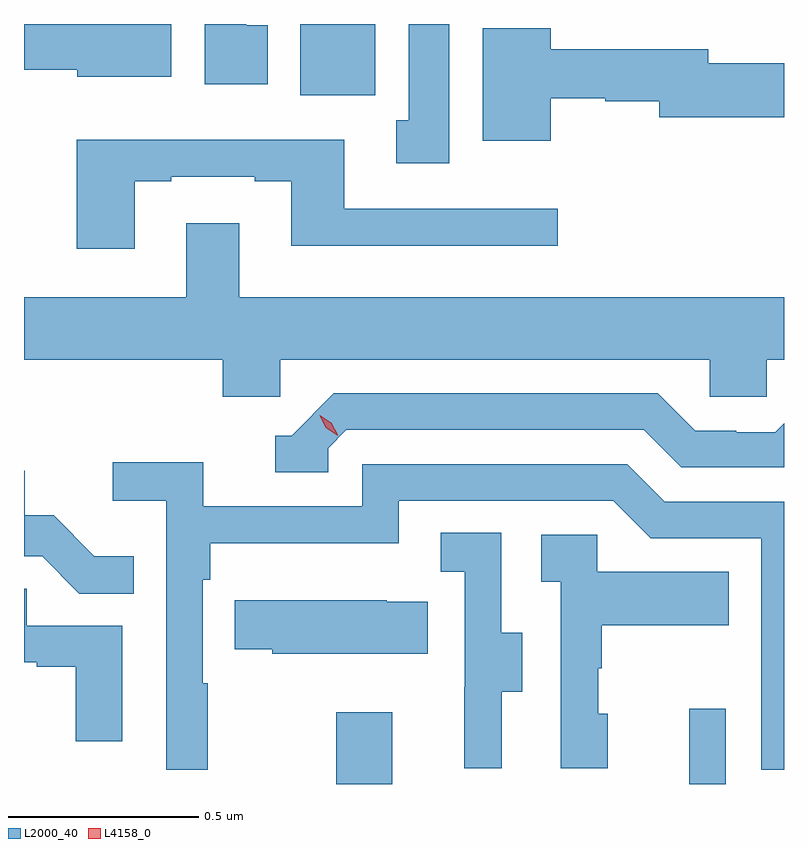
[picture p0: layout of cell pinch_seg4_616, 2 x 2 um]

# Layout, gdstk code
import gdstk
lib = gdstk.Library(unit=1e-6, precision=1e-09)
def R(c, l, rs):  # rectangles x0, y0, x1, y1
    for r in rs: c.add(gdstk.rectangle(r[:2], r[2:], *l))
def P(c, l, *ps):  # polygons
    for p in ps: c.add(gdstk.Polygon(p, *l))
L2000_40 = (2000, 40)
L4158_0 = (4158, 0)

pinch_seg4_616 = lib.new_cell('pinch_seg4_616')
R(pinch_seg4_616, L2000_40, [(1059.376,782.383,1059.523,782.572), (1060.304,782.383,1060.401,782.581), (1059.281,784.196,1059.478,784.383)])
P(pinch_seg4_616, L2000_40, [(1058.941,784.383),(1058.554,784.383),(1058.554,784.262),(1058.694,784.262),(1058.694,784.244),(1058.941,784.244)],
  [(1059.196,784.38),(1059.139,784.38),(1059.139,784.383),(1059.029,784.383),(1059.029,784.224),(1059.196,784.224)],
  [(1059.673,784.383),(1059.566,784.383),(1059.566,784.13),(1059.533,784.13),(1059.533,784.017),(1059.673,784.017)],
  [(1059.94,784.188),(1060.083,784.188),(1060.083,784.18),(1060.226,784.18),(1060.226,784.138),(1060.554,784.138),(1060.554,784.28),(1060.354,784.28),(1060.354,784.316),(1059.94,784.316),(1059.94,784.372),(1059.761,784.372),(1059.761,784.076),(1059.94,784.076)],
  [(1058.845,783.969),(1058.941,783.969),(1058.941,783.981),(1059.161,783.981),(1059.161,783.969),(1059.257,783.969),(1059.257,783.8),(1059.958,783.8),(1059.958,783.897),(1059.397,783.897),(1059.397,784.078),(1058.693,784.078),(1058.693,783.792),(1058.845,783.792)],
  [(1059.228,783.5),(1060.359,783.5),(1060.359,783.402),(1060.509,783.402),(1060.509,783.5),(1060.554,783.5),(1060.554,783.664),(1059.121,783.664),(1059.121,783.859),(1058.981,783.859),(1058.981,783.664),(1058.554,783.664),(1058.554,783.5),(1059.077,783.5),(1059.077,783.402),(1059.228,783.402)],
  [(1059.354,783.267),(1059.402,783.315),(1060.185,783.315),(1060.284,783.216),(1060.554,783.216),(1060.554,783.333),(1060.531,783.309),(1060.428,783.309),(1060.428,783.312),(1060.321,783.312),(1060.222,783.411),(1059.369,783.411),(1059.258,783.3),(1059.215,783.3),(1059.215,783.204),(1059.354,783.204)],
  [(1059.037,782.648),(1059.024,782.648),(1059.024,782.921),(1059.044,782.921),(1059.044,783.017),(1059.54,783.017),(1059.54,783.129),(1060.104,783.129),(1060.203,783.03),(1060.494,783.03),(1060.494,782.421),(1060.554,782.421),(1060.554,783.126),(1060.24,783.126),(1060.141,783.225),(1059.444,783.225),(1059.444,783.114),(1059.026,783.114),(1059.026,783.23),(1058.787,783.23),(1058.787,783.128),(1058.928,783.128),(1058.928,782.421),(1059.037,782.421)],
  [(1058.843,782.983),(1058.739,782.983),(1058.632,783.09),(1058.556,783.09),(1058.556,783.207),(1058.554,783.207),(1058.554,782.982),(1058.602,782.982),(1058.7,782.884),(1058.843,782.884)],
  [(1059.811,782.626),(1059.865,782.626),(1059.865,782.781),(1059.81,782.781),(1059.81,783.044),(1059.651,783.044),(1059.651,782.941),(1059.714,782.941),(1059.714,782.637),(1059.713,782.637),(1059.713,782.424),(1059.811,782.424)],
  [(1060.09,782.568),(1060.065,782.568),(1060.065,782.687),(1060.075,782.687),(1060.075,782.801),(1060.409,782.801),(1060.409,782.941),(1060.062,782.941),(1060.062,783.039),(1059.915,783.039),(1059.915,782.915),(1059.966,782.915),(1059.966,782.424),(1060.09,782.424)],
  [(1058.812,782.799),(1058.561,782.799),(1058.561,782.897),(1058.554,782.897),(1058.554,782.703),(1058.587,782.703),(1058.587,782.691),(1058.69,782.691),(1058.69,782.496),(1058.812,782.496)],
  [(1059.617,782.863),(1059.509,782.863),(1059.509,782.866),(1059.109,782.866),(1059.109,782.737),(1059.207,782.737),(1059.207,782.726),(1059.617,782.726)])
P(pinch_seg4_616, L4158_0, [(1059.378,783.301),(1059.348,783.321),(1059.332,783.354),(1059.332,783.354),(1059.332,783.354),(1059.363,783.334),(1059.379,783.302),(1059.379,783.301)])

lib.write_gds('pinch_seg4_616.gds')
